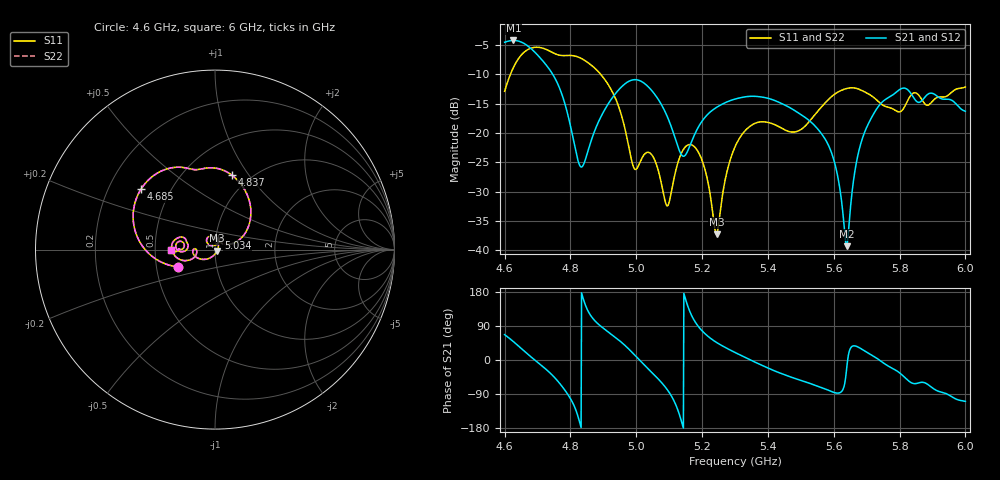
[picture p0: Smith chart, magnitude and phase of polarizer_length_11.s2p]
! TOUCHSTONE file generated by CST MICROWAVE STUDIO
! Date and time: Sun Dec  1 17:17:00 2024
! Project name: test_tuning.cst
! Parameters = {airCoaxOuterDiameter=3; chamferAngle=45; chamferWidth=24; connectorLength=10; drillingHoleDiameter=4.1; feedLength=60; flareDiameter=130; flareLength=70; gratingDistance=0; gratingGap=1.90274; outletLength=30; polarizerLength=84; probe1Diameter=1.3; probe1Distance=14; probe1Length=12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
! Header version: 2024
! Port assignment regex: !\s*Touchstone port\s*([0-9]+)\s*=\s*(CST MWS port|CST DES external port|CST DES block port)\s*(.+)\s* \(\"(.*)\"\)(\s*mode\s*([0-9]+))?.*
! Touchstone port assignment:
! Touchstone port 1 = CST MWS port 1 ("Input1")
! Touchstone port 2 = CST MWS port 2 ("Input2")
# GHz S MA R 50
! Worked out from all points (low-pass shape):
!   1001 points, 4.6 GHz to 6 GHz, reference 50 ohm
!   highest |S21| = -4.25 dB at 4.627 GHz (marker M1); lowest = -39.3 dB at 5.639 GHz (marker M2)
!   |S21| within 3 dB of the highest: start of sweep to 4.709 GHz
!   lowest |S11| = -37.2 dB at 5.244 GHz (marker M3), VSWR 1.03, Z = 51.2 - j0.679 ohm
!   |S11| at or under -10 dB: start of sweep to 4.617719 GHz; 4.892 GHz to end of sweep
!   |S22| runs from -37.2 to -5.4 dB; largest |S21 - S12| = 5.6e-07
!   S11 on the Smith chart (normalised r, x): 4.6 GHz: 0.65, -0.13; 4.685 GHz: 0.34, +0.32; 4.837 GHz: 0.82, +0.84; 5.034 GHz: 1.03, +0.14; 6 GHz: 0.60, -0.01
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4.6  0.226 -154.8  0.5913 66.9  0.5913 66.9  0.226 -154.8
4.6266  0.3603 -175.2  0.6131 48.6  0.6131 48.6  0.3603 -175.2
4.6854  0.5321 140.9  0.5073 4.4  0.5073 4.4  0.5321 140.9
4.7568  0.4682 106.6  0.2788 -51.0  0.2788 -51.0  0.4682 106.6
4.8338  0.4297 78.6  0.05128 177.3  0.05128 177.3  0.4297 78.6
4.8366  0.4255 77.3  0.05199 168.6  0.05199 168.6  0.4255 77.3
4.9318  0.2114 32.0  0.2075 63.0  0.2075 63.0  0.2114 32.0
4.9934  0.04999 46.1  0.2841 14.7  0.2841 14.7  0.04999 46.1
5.034  0.06839 74.3  0.2511 -21.5  0.2511 -21.5  0.06839 74.3
5.0676  0.04716 64.1  0.1917 -50.8  0.1917 -50.8  0.04716 64.1
5.0956  0.02404 107.2  0.1351 -79.9  0.1351 -79.9  0.02404 107.2
5.1404  0.07015 132.2  0.06378 -171.2  0.06378 -171.2  0.07015 132.2
5.1768  0.07628 102.5  0.09628 103.5  0.09628 103.5  0.07628 102.5
5.209  0.04857 72.0  0.136 69.3  0.136 69.3  0.04857 72.0
5.244  0.01374 -28.8  0.1652 46.3  0.1652 46.3  0.01374 -28.8
5.3  0.07609 -134.6  0.1944 19.9  0.1944 19.9  0.07609 -134.6
5.5338  0.1335 -158.2  0.1218 -63.7  0.1218 -63.7  0.1335 -158.2
5.5982  0.2093 -165.7  0.06158 -84.9  0.06158 -84.9  0.2093 -165.7
5.6388  0.2389 -178.6  0.01087 -26.4  0.01087 -26.4  0.2389 -178.6
5.6836  0.2311 166.5  0.08372 29.4  0.08372 29.4  0.2311 166.5
5.7676  0.165 164.4  0.2008 -17.0  0.2008 -17.0  0.165 164.4
6  0.2467 -178.9  0.1531 -109.3  0.1531 -109.3  0.2467 -178.9
